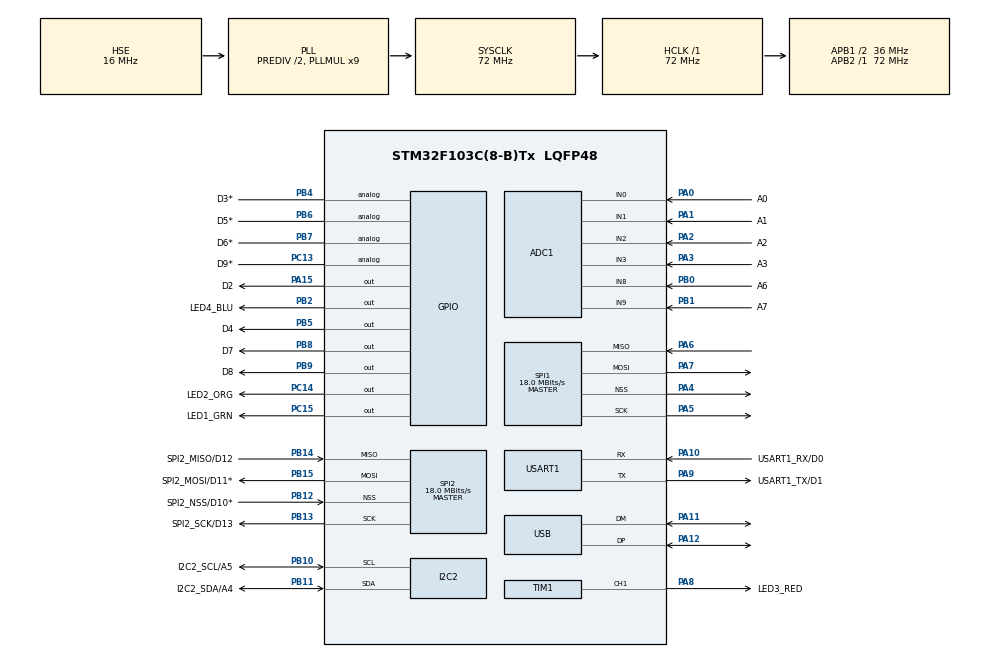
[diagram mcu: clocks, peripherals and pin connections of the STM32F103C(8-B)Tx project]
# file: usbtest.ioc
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ADC1.Channel-3\#ChannelRegularConversion=ADC_CHANNEL_0
ADC1.NbrOfConversionFlag=1
ADC1.Rank-3\#ChannelRegularConversion=1
ADC1.SamplingTime-3\#ChannelRegularConversion=ADC_SAMPLETIME_1CYCLE_5
ADC1.master=1
Mcu.Family=STM32F1
Mcu.Name=STM32F103C(8-B)Tx
Mcu.Package=LQFP48
NVIC.PriorityGroup=NVIC_PRIORITYGROUP_4
NVIC.USB_LP_CAN1_RX0_IRQn=true\:0\:0\:false\:false\:true\:false\:true\:true
PA0-WKUP.GPIO_Label=A0
PA0-WKUP.Signal=ADCx_IN0
PA1.GPIO_Label=A1
PA1.Signal=ADCx_IN1
PA10.GPIO_Label=USART1_RX/D0
PA10.Mode=Asynchronous
PA10.Signal=USART1_RX
PA11.Mode=Device
PA11.Signal=USB_DM
PA12.Mode=Device
PA12.Signal=USB_DP
PA13.Mode=Trace_Asynchronous_SW
PA13.Signal=SYS_JTMS-SWDIO
PA14.Mode=Trace_Asynchronous_SW
PA14.Signal=SYS_JTCK-SWCLK
PA15.GPIO_Label=D2
PA15.Signal=GPIO_Output
PA2.GPIO_Label=A2
PA2.Signal=ADCx_IN2
PA3.GPIO_Label=A3
PA3.Signal=ADCx_IN3
PA4.Mode=NSS_Signal_Hard_Output
PA4.Signal=SPI1_NSS
PA5.Mode=Full_Duplex_Master
PA5.Signal=SPI1_SCK
PA6.Mode=Full_Duplex_Master
PA6.Signal=SPI1_MISO
PA7.Mode=Full_Duplex_Master
PA7.Signal=SPI1_MOSI
PA8.GPIO_Label=LED3_RED
PA8.Signal=S_TIM1_CH1
PA9.GPIO_Label=USART1_TX/D1
PA9.Mode=Asynchronous
PA9.Signal=USART1_TX
PB0.GPIO_Label=A6
PB0.Signal=ADCx_IN8
PB1.GPIO_Label=A7
PB1.Signal=ADCx_IN9
PB10.GPIO_Label=I2C2_SCL/A5
PB10.Mode=I2C
PB10.Signal=I2C2_SCL
PB11.GPIO_Label=I2C2_SDA/A4
PB11.Mode=I2C
PB11.Signal=I2C2_SDA
PB12.GPIO_Label=SPI2_NSS/D10*
PB12.Mode=NSS_Signal_Hard_Input
PB12.Signal=SPI2_NSS
PB13.GPIO_Label=SPI2_SCK/D13
PB13.Mode=Full_Duplex_Master
PB13.Signal=SPI2_SCK
PB14.GPIO_Label=SPI2_MISO/D12
PB14.Mode=Full_Duplex_Master
PB14.Signal=SPI2_MISO
PB15.GPIO_Label=SPI2_MOSI/D11*
PB15.Mode=Full_Duplex_Master
PB15.Signal=SPI2_MOSI
PB2.GPIO_Label=LED4_BLU
PB2.Signal=GPIO_Output
PB3.Mode=Trace_Asynchronous_SW
PB3.Signal=SYS_JTDO-TRACESWO
PB4.GPIO_Label=D3*
PB4.Signal=GPIO_Analog
PB5.GPIO_Label=D4
PB5.Signal=GPIO_Output
PB6.GPIO_Label=D5*
PB6.Signal=GPIO_Analog
PB7.GPIO_Label=D6*
PB7.Signal=GPIO_Analog
PB8.GPIO_Label=D7
PB8.Signal=GPIO_Output
PB9.GPIO_Label=D8
PB9.Signal=GPIO_Output
PC13-TAMPER-RTC.GPIO_Label=D9*
PC13-TAMPER-RTC.Signal=GPIO_Analog
PC14-OSC32_IN.GPIO_Label=LED2_ORG
PC14-OSC32_IN.Signal=GPIO_Output
PC15-OSC32_OUT.GPIO_Label=LED1_GRN
PC15-OSC32_OUT.Signal=GPIO_Output
PD0-OSC_IN.Mode=HSE-External-Oscillator
PD0-OSC_IN.Signal=RCC_OSC_IN
PD1-OSC_OUT.Mode=HSE-External-Oscillator
PD1-OSC_OUT.Signal=RCC_OSC_OUT
ProjectManager.HeapSize=0x200
ProjectManager.StackSize=0x400
ProjectManager.TargetToolchain=STM32CubeIDE
RCC.ADCPresc=RCC_ADCPCLK2_DIV6
RCC.AHBFreq_Value=72000000
RCC.APB1CLKDivider=RCC_HCLK_DIV2
RCC.APB1Freq_Value=36000000
RCC.APB1TimFreq_Value=72000000
RCC.APB2Freq_Value=72000000
RCC.APB2TimFreq_Value=72000000
RCC.HCLKFreq_Value=72000000
RCC.HSEDivPLL=RCC_HSE_PREDIV_DIV2
RCC.HSE_VALUE=16000000
RCC.PLLMUL=RCC_PLL_MUL9
RCC.PLLSourceVirtual=RCC_PLLSOURCE_HSE
RCC.SYSCLKFreq_VALUE=72000000
RCC.SYSCLKSource=RCC_SYSCLKSOURCE_PLLCLK
RCC.USBFreq_Value=48000000
RCC.USBPrescaler=RCC_USBCLKSOURCE_PLL_DIV1_5
SH.ADCx_IN0.0=ADC1_IN0,IN0
SH.ADCx_IN1.0=ADC1_IN1,IN1
SH.ADCx_IN2.0=ADC1_IN2,IN2
SH.ADCx_IN3.0=ADC1_IN3,IN3
SH.ADCx_IN8.0=ADC1_IN8,IN8
SH.ADCx_IN9.0=ADC1_IN9,IN9
SH.S_TIM1_CH1.0=TIM1_CH1,PWM Generation1 CH1
SPI1.BaudRatePrescaler=SPI_BAUDRATEPRESCALER_4
SPI1.CalculateBaudRate=18.0 MBits/s
SPI1.Direction=SPI_DIRECTION_2LINES
SPI1.Mode=SPI_MODE_MASTER
SPI1.VirtualNSS=VM_NSSHARD
SPI1.VirtualType=VM_MASTER
SPI2.CalculateBaudRate=18.0 MBits/s
SPI2.Direction=SPI_DIRECTION_2LINES
SPI2.Mode=SPI_MODE_MASTER
SPI2.VirtualNSS=VM_NSSHARD
SPI2.VirtualType=VM_MASTER
TIM1.AutoReloadPreload=TIM_AUTORELOAD_PRELOAD_ENABLE
TIM1.Channel-PWM\ Generation1\ CH1=TIM_CHANNEL_1
USART1.VirtualMode=VM_ASYNC
USB_DEVICE.CLASS_NAME_FS=CDC
USB_DEVICE.VirtualMode=Cdc
USB_DEVICE.VirtualModeFS=Cdc_FS
VP_ADC1_TempSens_Input.Mode=IN-TempSens
VP_ADC1_Vref_Input.Mode=IN-Vrefint
VP_TIM1_VS_ClockSourceINT.Mode=Internal
VP_USB_DEVICE_VS_USB_DEVICE_CDC_FS.Mode=CDC_FS
board=custom

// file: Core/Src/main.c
/* USER CODE BEGIN Header */
/**
  ******************************************************************************
  * @file           : main.c
  * @brief          : Main program body
  ******************************************************************************
  * @attention
  *
  * Copyright (c) 2023 STMicroelectronics.
  * All rights reserved.
  *
  * This software is licensed under terms that can be found in the LICENSE file
  * in the root directory of this software component.
  * If no LICENSE file comes with this software, it is provided AS-IS.
  *
  ******************************************************************************
  */
/* USER CODE END Header */
#include "main.h"
#include "adc.h"
#include "i2c.h"
#include "spi.h"
#include "tim.h"
#include "usart.h"
#include "usb_device.h"
#include "gpio.h"

/* USER CODE BEGIN Includes */
#include "usbd_cdc_if.h"
/* USER CODE END Includes */

void SystemClock_Config(void);

/* USER CODE BEGIN 0 */
void Serial_Handler(uint8_t* Buf, uint32_t *Len)
{
    if((Len > 0) && (Buf[0] == 'r')) {
        ledPattern=0xFF;
    }
}
/* USER CODE END 0 */

int main(void)
{
  /* USER CODE BEGIN 1 */
  DBG=Debugger_create(0);
  /* USER CODE END 1 */

  /* MCU Configuration--------------------------------------------------------*/

  /* Reset of all peripherals, Initializes the Flash interface and the Systick. */
  HAL_Init();

  /* Configure the system clock */
  SystemClock_Config();

  /* Initialize all configured peripherals */
  MX_GPIO_Init();
  MX_ADC1_Init();
  MX_SPI2_Init();
  MX_USART1_UART_Init();
  MX_SPI1_Init();
  MX_I2C2_Init();
  MX_TIM1_Init();
  MX_USB_DEVICE_Init();
  /* USER CODE BEGIN 2 */
  uint32_t tick1 = 0;
  uint32_t tick2 = 0;
  uint32_t counter = 0;
  int8_t counterDirection = 50;

  int8_t ledDirection = 1;
  HAL_TIM_PWM_Start(&htim1, TIM_CHANNEL_1);
  Debugger_log(DBG, "Hello World.\n");
  char buffer[100];
  CDC_Transmit_FS("Hello, World!\n", 15);
  /* USER CODE END 2 */

  /* Infinite loop */
  /* USER CODE BEGIN WHILE */
  while (1)
  {
      if(HAL_GetTick() - tick1 >= 5) {
          tick1=HAL_GetTick();
          counter+=counterDirection;
          if(counter >= 65535) {
              counterDirection = (int8_t)(-1 * abs(counterDirection));
          }
          if(counter <= 45000) {
              counterDirection = (int8_t)abs(counterDirection);
          }
          TIM1->CCR1=MIN(65535, counter);
      }
      if(HAL_GetTick() - tick2 >= 500) {
          tick2=HAL_GetTick();

          if(ledDirection > 0) {
              ledPattern = ledPattern << 1;
              if(ledPattern >= 8) ledDirection=-1;
          } else {
              ledPattern = ledPattern >> 1;
              if(ledPattern <= 1) {
                  ledDirection=1;
                  ledPattern=1;
              }
          }
//          HAL_GPIO_WritePin(LED3_RED_GPIO_Port, LED3_RED_Pin, (ledPattern & 1) ? GPIO_PIN_RESET : GPIO_PIN_SET);
          HAL_GPIO_WritePin(LED2_ORG_GPIO_Port, LED2_ORG_Pin, (ledPattern & 2) ? GPIO_PIN_RESET : GPIO_PIN_SET);
          HAL_GPIO_WritePin(LED1_GRN_GPIO_Port, LED1_GRN_Pin, (ledPattern & 4) ? GPIO_PIN_RESET : GPIO_PIN_SET);
          HAL_GPIO_WritePin(LED4_BLU_GPIO_Port, LED4_BLU_Pin, (ledPattern & 8) ? GPIO_PIN_RESET : GPIO_PIN_SET);
          Debugger_log(DBG, "counter=%lu\n", counter);
          Debugger_log(DBG, "ledPattern=%lu\n", ledPattern);
          snprintf(buffer, sizeof(buffer), "counter=%lu\n", counter);
          CDC_Transmit_FS(buffer, strlen(buffer));
      }

    /* USER CODE END WHILE */

  }
}

void SystemClock_Config(void)
{
  RCC_OscInitTypeDef RCC_OscInitStruct = {0};
  RCC_ClkInitTypeDef RCC_ClkInitStruct = {0};
  RCC_PeriphCLKInitTypeDef PeriphClkInit = {0};

  /** Initializes the RCC Oscillators according to the specified parameters
  * in the RCC_OscInitTypeDef structure.
  */
  RCC_OscInitStruct.OscillatorType = RCC_OSCILLATORTYPE_HSE;
  RCC_OscInitStruct.HSEState = RCC_HSE_ON;
  RCC_OscInitStruct.HSEPredivValue = RCC_HSE_PREDIV_DIV2;
  RCC_OscInitStruct.HSIState = RCC_HSI_ON;
  RCC_OscInitStruct.PLL.PLLState = RCC_PLL_ON;
  RCC_OscInitStruct.PLL.PLLSource = RCC_PLLSOURCE_HSE;
  RCC_OscInitStruct.PLL.PLLMUL = RCC_PLL_MUL9;
  if (HAL_RCC_OscConfig(&RCC_OscInitStruct) != HAL_OK)
  {
    Error_Handler();
  }

  /** Initializes the CPU, AHB and APB buses clocks
  */
  RCC_ClkInitStruct.ClockType = RCC_CLOCKTYPE_HCLK|RCC_CLOCKTYPE_SYSCLK
                              |RCC_CLOCKTYPE_PCLK1|RCC_CLOCKTYPE_PCLK2;
  RCC_ClkInitStruct.SYSCLKSource = RCC_SYSCLKSOURCE_PLLCLK;
  RCC_ClkInitStruct.AHBCLKDivider = RCC_SYSCLK_DIV1;
  RCC_ClkInitStruct.APB1CLKDivider = RCC_HCLK_DIV2;
  RCC_ClkInitStruct.APB2CLKDivider = RCC_HCLK_DIV1;

  if (HAL_RCC_ClockConfig(&RCC_ClkInitStruct, FLASH_LATENCY_2) != HAL_OK)
  {
    Error_Handler();
  }
  PeriphClkInit.PeriphClockSelection = RCC_PERIPHCLK_ADC|RCC_PERIPHCLK_USB;
  PeriphClkInit.AdcClockSelection = RCC_ADCPCLK2_DIV6;
  PeriphClkInit.UsbClockSelection = RCC_USBCLKSOURCE_PLL_DIV1_5;
  if (HAL_RCCEx_PeriphCLKConfig(&PeriphClkInit) != HAL_OK)
  {
    Error_Handler();
  }
}

void Error_Handler(void)
{
  __disable_irq();
  while (1)
  {
  }
}
